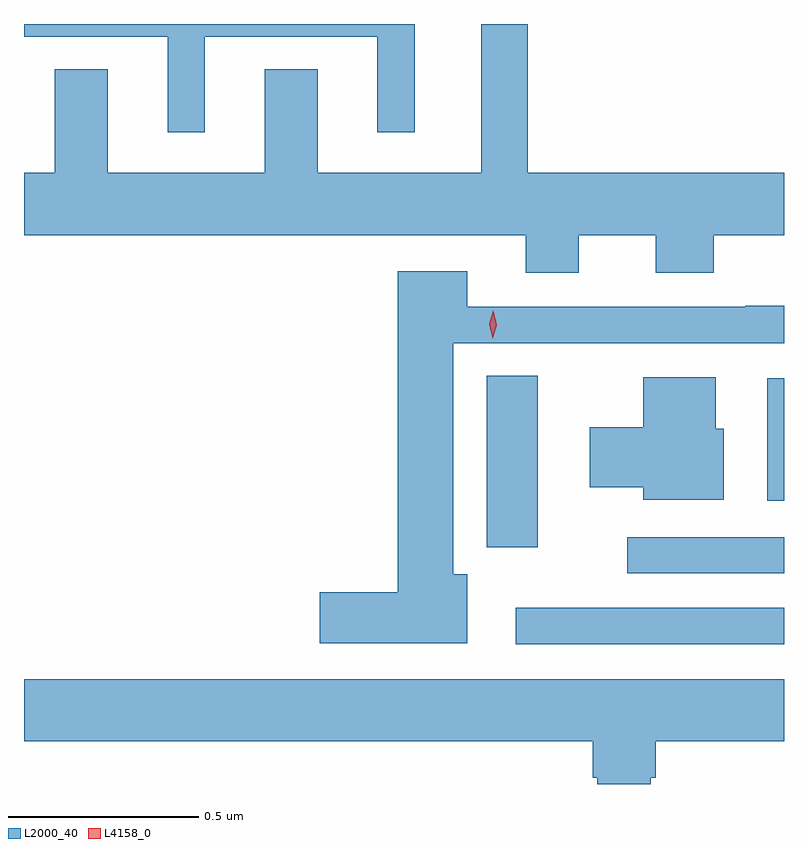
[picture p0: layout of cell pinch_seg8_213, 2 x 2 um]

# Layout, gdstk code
import gdstk
lib = gdstk.Library(unit=1e-6, precision=1e-09)
def R(c, l, rs):  # rectangles x0, y0, x1, y1
    for r in rs: c.add(gdstk.rectangle(r[:2], r[2:], *l))
def P(c, l, *ps):  # polygons
    for p in ps: c.add(gdstk.Polygon(p, *l))
L2000_40 = (2000, 40)
L4158_0 = (4158, 0)

pinch_seg8_213 = lib.new_cell('pinch_seg8_213')
R(pinch_seg8_213, L2000_40, [(682.254,1107.432,682.96,1107.528), (682.548,1107.618,682.96,1107.714), (682.178,1107.687,682.312,1108.139), (682.916,1107.809,682.96,1108.132)])
P(pinch_seg8_213, L2000_40, [(682.42,1108.508),(682.622,1108.508),(682.622,1108.409),(682.775,1108.409),(682.775,1108.508),(682.96,1108.508),(682.96,1108.672),(682.285,1108.672),(682.285,1109.064),(682.163,1109.064),(682.163,1108.672),(681.733,1108.672),(681.733,1108.945),(681.593,1108.945),(681.593,1108.672),(681.181,1108.672),(681.181,1108.945),(681.041,1108.945),(681.041,1108.672),(680.96,1108.672),(680.96,1108.508),(682.28,1108.508),(682.28,1108.409),(682.42,1108.409)],
  [(681.436,1109.03),(681.89,1109.03),(681.89,1108.779),(681.988,1108.779),(681.988,1109.064),(680.96,1109.064),(680.96,1109.03),(681.338,1109.03),(681.338,1108.779),(681.436,1108.779)],
  [(682.126,1107.616),(682.09,1107.616),(682.09,1108.224),(682.96,1108.224),(682.96,1108.322),(682.858,1108.322),(682.858,1108.32),(682.126,1108.32),(682.126,1108.414),(681.944,1108.414),(681.944,1107.569),(681.738,1107.569),(681.738,1107.434),(682.126,1107.434)],
  [(682.801,1107.999),(682.78,1107.999),(682.78,1108.135),(682.589,1108.135),(682.589,1108.003),(682.449,1108.003),(682.449,1107.845),(682.589,1107.845),(682.589,1107.812),(682.801,1107.812)],
  [(682.609,1107.08),(682.622,1107.08),(682.622,1107.176),(682.96,1107.176),(682.96,1107.34),(680.96,1107.34),(680.96,1107.176),(682.457,1107.176),(682.457,1107.08),(682.469,1107.08),(682.469,1107.064),(682.609,1107.064)])
P(pinch_seg8_213, L4158_0, [(682.193,1108.237),(682.184,1108.274),(682.195,1108.309),(682.195,1108.309),(682.195,1108.309),(682.204,1108.273),(682.194,1108.237),(682.194,1108.237)])

lib.write_gds('pinch_seg8_213.gds')
